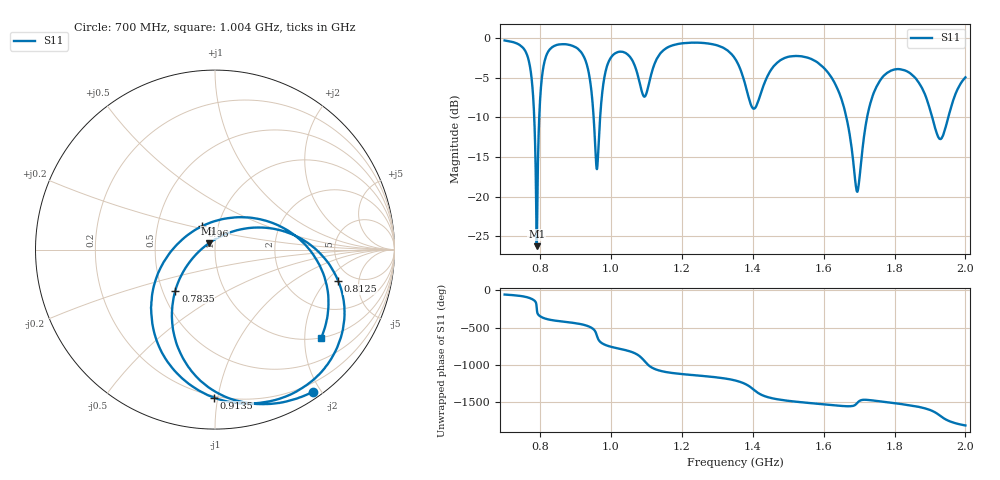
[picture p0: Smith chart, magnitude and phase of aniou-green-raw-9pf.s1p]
!Keysight Technologies,P9371A,MY57212015,Z.15.41.75
!Date: Thursday, May 12, 2022 07:55:28
!Correction: S11(C  1-Port  )
!S1P File: Measurement: S11:
# Hz S  dB  R 50
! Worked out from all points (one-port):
!   2601 points, 700 MHz to 2 GHz, reference 50 ohm
!   lowest |S11| = -26.2 dB at 790.5 MHz (marker M1), VSWR 1.10, Z = 46.7 + j3.38 ohm
!   |S11| at or under -10 dB: 951.1 MHz to 969.5 MHz (18.36 MHz wide, 1.91 % of centre); 1.664 GHz to 1.723 GHz (58.49 MHz wide, 3.45 % of centre); 1.906 GHz to 1.952 GHz (45.32 MHz wide, 2.35 % of centre)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
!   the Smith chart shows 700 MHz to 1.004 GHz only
!   S11 on the Smith chart (normalised r, x): 700 MHz: 0.09, -1.91; 783.5 MHz: 0.58, -0.30; 812.5 MHz: 3.87, -2.70; 913.5 MHz: 0.19, -0.97; 960 MHz: 0.84, +0.22; 1.004 GHz: 1.00, -2.40
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7e8  -0.34 -55.3
7.58e8  -1.63 -85.1
7.835e8  -9.96 -134.1
7.905e8  -26.23 132.3
8.125e8  -3.01 -14.2
8.625e8  -0.81 -56.9
9.135e8  -1.68 -90.4
9.425e8  -5.83 -133.8
9.6e8  -16.52 119.3
1.0035e9  -2.28 -39.8
1.025e9  -1.75 -62.9
1.079e9  -5.28 -154.6
1.107e9  -5.80 73.2
1.1365e9  -2.13 5.7
1.1875e9  -0.79 -35.2
1.2885e9  -0.83 -80.3
1.35e9  -2.61 -126.3
1.38e9  -6.07 -176.5
1.411e9  -8.50 79.1
1.452e9  -4.02 -2.4
1.5125e9  -2.32 -46.9
1.675e9  -12.60 -112.5
1.696e9  -19.30 -63.3
1.7515e9  -5.96 -42.5
1.8375e9  -4.27 -95.5
1.894e9  -8.14 -152.6
1.938e9  -12.16 89.1
2e9  -4.98 -10.2
